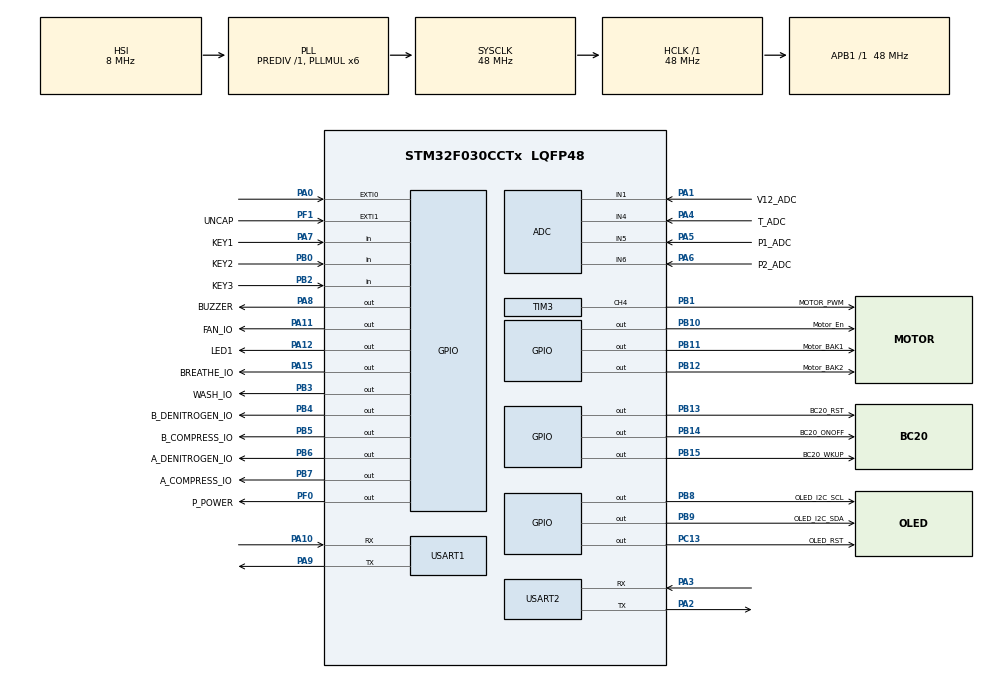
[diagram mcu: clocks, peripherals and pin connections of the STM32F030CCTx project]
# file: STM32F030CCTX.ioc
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ADC.ContinuousConvMode=ENABLE
ADC.DMAContinuousRequests=ENABLE
ADC.SamplingTime=ADC_SAMPLETIME_239CYCLES_5
Dma.ADC.0.Direction=DMA_PERIPH_TO_MEMORY
Dma.ADC.0.Instance=DMA1_Channel1
Dma.ADC.0.MemDataAlignment=DMA_MDATAALIGN_WORD
Dma.ADC.0.MemInc=DMA_MINC_ENABLE
Dma.ADC.0.Mode=DMA_CIRCULAR
Dma.ADC.0.PeriphDataAlignment=DMA_PDATAALIGN_WORD
Dma.ADC.0.PeriphInc=DMA_PINC_DISABLE
Dma.ADC.0.Priority=DMA_PRIORITY_LOW
Dma.Request0=ADC
Mcu.Family=STM32F0
Mcu.Name=STM32F030CCTx
Mcu.Package=LQFP48
NVIC.DMA1_Channel1_IRQn=true\:0\:0\:false\:false\:true\:false\:true
NVIC.RTC_IRQn=true\:0\:0\:false\:false\:true\:true\:true
NVIC.TIM3_IRQn=true\:0\:0\:false\:false\:true\:true\:true
NVIC.TIM6_IRQn=true\:0\:0\:false\:false\:true\:true\:true
NVIC.USART1_IRQn=true\:0\:0\:false\:false\:true\:true\:true
NVIC.USART2_IRQn=true\:0\:0\:false\:false\:true\:true\:true
PA0.Signal=GPXTI0
PA1.GPIO_Label=V12_ADC
PA1.Mode=IN1
PA1.Signal=ADC_IN1
PA10.Mode=Asynchronous
PA10.Signal=USART1_RX
PA11.GPIO_Label=FAN_IO
PA11.Signal=GPIO_Output
PA12.GPIO_Label=LED1
PA12.GPIO_ModeDefaultOutputPP=GPIO_MODE_OUTPUT_OD
PA12.Signal=GPIO_Output
PA13.Mode=Serial_Wire
PA13.Signal=SYS_SWDIO
PA14.Mode=Serial_Wire
PA14.Signal=SYS_SWCLK
PA15.GPIO_Label=BREATHE_IO
PA15.Signal=GPIO_Output
PA2.Mode=Asynchronous
PA2.Signal=USART2_TX
PA3.Mode=Asynchronous
PA3.Signal=USART2_RX
PA4.GPIO_Label=T_ADC
PA4.Mode=IN4
PA4.Signal=ADC_IN4
PA5.GPIO_Label=P1_ADC
PA5.Mode=IN5
PA5.Signal=ADC_IN5
PA6.GPIO_Label=P2_ADC
PA6.Mode=IN6
PA6.Signal=ADC_IN6
PA7.GPIO_Label=KEY1
PA7.Signal=GPIO_Input
PA8.GPIO_Label=BUZZER
PA8.Signal=GPIO_Output
PA9.Mode=Asynchronous
PA9.Signal=USART1_TX
PB0.GPIO_Label=KEY2
PB0.Signal=GPIO_Input
PB1.GPIO_Label=MOTOR_PWM
PB1.Signal=S_TIM3_CH4
PB10.GPIO_Label=Motor_En
PB10.Signal=GPIO_Output
PB11.GPIO_Label=Motor_BAK1
PB11.Signal=GPIO_Output
PB12.GPIO_Label=Motor_BAK2
PB12.Signal=GPIO_Output
PB13.GPIO_Label=BC20_RST
PB13.Signal=GPIO_Output
PB14.GPIO_Label=BC20_ONOFF
PB14.Signal=GPIO_Output
PB15.GPIO_Label=BC20_WKUP
PB15.Signal=GPIO_Output
PB2.GPIO_Label=KEY3
PB2.Signal=GPIO_Input
PB3.GPIO_Label=WASH_IO
PB3.Signal=GPIO_Output
PB4.GPIO_Label=B_DENITROGEN_IO
PB4.Signal=GPIO_Output
PB5.GPIO_Label=B_COMPRESS_IO
PB5.Signal=GPIO_Output
PB6.GPIO_Label=A_DENITROGEN_IO
PB6.Signal=GPIO_Output
PB7.GPIO_Label=A_COMPRESS_IO
PB7.Signal=GPIO_Output
PB8.GPIO_Label=OLED_I2C_SCL
PB8.Signal=GPIO_Output
PB9.GPIO_Label=OLED_I2C_SDA
PB9.Signal=GPIO_Output
PC13.GPIO_Label=OLED_RST
PC13.Signal=GPIO_Output
PC14OSC32_IN.GPIO_Label=OLED_PWOER_EN
PC14OSC32_IN.Signal=GPIO_Output
PC15OSC32_OUT.GPIO_Label=BAT_LOW
PC15OSC32_OUT.Signal=GPIO_Input
PF0-OSC_IN.GPIO_Label=P_POWER
PF0-OSC_IN.Signal=GPIO_Output
PF1-OSC_OUT.GPIO_Label=UNCAP
PF1-OSC_OUT.Signal=GPXTI1
ProjectManager.HeapSize=0x2000
ProjectManager.StackSize=0x2000
ProjectManager.TargetToolchain=MDK-ARM V5
RCC.AHBFreq_Value=48000000
RCC.APB1Freq_Value=48000000
RCC.APB1TimFreq_Value=48000000
RCC.HCLKFreq_Value=48000000
RCC.PLLMUL=RCC_PLL_MUL6
RCC.SYSCLKFreq_VALUE=48000000
RCC.SYSCLKSource=RCC_SYSCLKSOURCE_PLLCLK
RTC.Alarm-Alarm\ A=RTC_ALARM_A
RTC.AsynchPrediv=100
RTC.Hours=19
RTC.Minutes=44
RTC.Seconds=50
RTC.SynchPrediv=400
RTC.WeekDay=RTC_WEEKDAY_SUNDAY
SH.S_TIM3_CH4.0=TIM3_CH4,PWM Generation4 CH4
TIM3.Channel-PWM\ Generation4\ CH4=TIM_CHANNEL_4
TIM3.Period=100
TIM3.Prescaler=480
TIM3.Pulse-PWM\ Generation4\ CH4=100
TIM6.AutoReloadPreload=TIM_AUTORELOAD_PRELOAD_ENABLE
TIM6.Period=599
TIM6.Prescaler=799
USART1.DMADisableonRxErrorParam=ADVFEATURE_DMA_DISABLEONRXERROR
USART1.VirtualMode-Asynchronous=VM_ASYNC
USART2.DMADisableonRxErrorParam=ADVFEATURE_DMA_DISABLEONRXERROR
USART2.VirtualMode-Asynchronous=VM_ASYNC
VP_RTC_VS_RTC_Activate.Mode=RTC_Enabled
VP_RTC_VS_RTC_Alarm_A_Intern.Mode=Alarm A
VP_RTC_VS_RTC_Calendar.Mode=RTC_Calendar
VP_TIM3_VS_ClockSourceINT.Mode=Internal
VP_TIM6_VS_ClockSourceINT.Mode=Enable_Timer
board=custom

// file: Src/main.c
/* USER CODE BEGIN Header */
/**
  ******************************************************************************
  * @file           : main.c
  * @brief          : Main program body
  ******************************************************************************
  * @attention
  *
  * <h2><center>&copy; Copyright (c) 2019 STMicroelectronics.
  * All rights reserved.</center></h2>
  *
  * This software component is licensed by ST under BSD 3-Clause license,
  * the "License"; You may not use this file except in compliance with the
  * License. You may obtain a copy of the License at:
  *                        opensource.org/licenses/BSD-3-Clause
  *
  ******************************************************************************
  */
/* USER CODE END Header */

#include "main.h"
#include "adc.h"
#include "dma.h"
#include "rtc.h"
#include "tim.h"
#include "usart.h"
#include "gpio.h"

/* USER CODE BEGIN Includes */
#define MY_GLOBAL

#include "my_main.h"
#include "my_global.h"
#include "my_flash.h"
#include "my_uart.h"
#include "my_tim.h"
/* USER CODE END Includes */

void SystemClock_Config(void);

int main(void)
{
  /* USER CODE BEGIN 1 */
    #define MAIN_TAST_TICK_MS       10
    uint32_t tick = 0;

  /* USER CODE END 1 */

  /* MCU Configuration--------------------------------------------------------*/

  /* Reset of all peripherals, Initializes the Flash interface and the Systick. */
  HAL_Init();

  /* Configure the system clock */
  SystemClock_Config();

  /* Initialize all configured peripherals */
  MX_GPIO_Init();
  MX_DMA_Init();
  MX_ADC_Init();
  MX_RTC_Init();
  MX_TIM6_Init();
  MX_USART1_UART_Init();
  MX_USART2_UART_Init();
  MX_TIM3_Init();
  /* USER CODE BEGIN 2 */
    main_init();
  /* USER CODE END 2 */

  /* Infinite loop */
  /* USER CODE BEGIN WHILE */
  while (1)
  {
        tick = GetTimeCnt();

        W_SwitchWork(&SwitchPar);
        F_SwitchWork(&SwitchPar);
        EQ_SwitchWork(&SwitchPar);    //阀门控制

        if (tick *10 % 10 == 0) {            //10ms task
            main_keyAction();
        }
        if (tick *10 % 100 == 0) {           //100ms task

        }
        if (tick *10 % 200 == 0) {           //200ms task
            main_showAdcValue(0x03);
            main_showAdcValue(0x02);
        }
        if (tick *10 % 500 == 0) {           //500ms task
            /* 1. system Run Info */
            debug_str("system is running!\r\n");
        }
        if (tick *10 % 1000 == 0) {          //1000ms task
            //printf("hello world\n");
            //rtc_printfDataTime();
        }
        if (tick *10 % (10 * 1000) == 0) {  //10 stask
            main_saveSysParCycle(10);
        }

    /* USER CODE END WHILE */

    /* USER CODE BEGIN 3 */
        //HAL_Delay(MAIN_TAST_TICK_MS);//
  }
  /* USER CODE END 3 */
}

void SystemClock_Config(void)
{
  RCC_OscInitTypeDef RCC_OscInitStruct = {0};
  RCC_ClkInitTypeDef RCC_ClkInitStruct = {0};
  RCC_PeriphCLKInitTypeDef PeriphClkInit = {0};

  /** Initializes the CPU, AHB and APB busses clocks
  */
  RCC_OscInitStruct.OscillatorType = RCC_OSCILLATORTYPE_HSI|RCC_OSCILLATORTYPE_HSI14
                              |RCC_OSCILLATORTYPE_LSI;
  RCC_OscInitStruct.HSIState = RCC_HSI_ON;
  RCC_OscInitStruct.HSI14State = RCC_HSI14_ON;
  RCC_OscInitStruct.HSICalibrationValue = RCC_HSICALIBRATION_DEFAULT;
  RCC_OscInitStruct.HSI14CalibrationValue = 16;
  RCC_OscInitStruct.LSIState = RCC_LSI_ON;
  RCC_OscInitStruct.PLL.PLLState = RCC_PLL_ON;
  RCC_OscInitStruct.PLL.PLLSource = RCC_PLLSOURCE_HSI;
  RCC_OscInitStruct.PLL.PLLMUL = RCC_PLL_MUL6;
  RCC_OscInitStruct.PLL.PREDIV = RCC_PREDIV_DIV1;
  if (HAL_RCC_OscConfig(&RCC_OscInitStruct) != HAL_OK)
  {
    Error_Handler();
  }
  /** Initializes the CPU, AHB and APB busses clocks
  */
  RCC_ClkInitStruct.ClockType = RCC_CLOCKTYPE_HCLK|RCC_CLOCKTYPE_SYSCLK
                              |RCC_CLOCKTYPE_PCLK1;
  RCC_ClkInitStruct.SYSCLKSource = RCC_SYSCLKSOURCE_PLLCLK;
  RCC_ClkInitStruct.AHBCLKDivider = RCC_SYSCLK_DIV1;
  RCC_ClkInitStruct.APB1CLKDivider = RCC_HCLK_DIV1;

  if (HAL_RCC_ClockConfig(&RCC_ClkInitStruct, FLASH_LATENCY_1) != HAL_OK)
  {
    Error_Handler();
  }
  PeriphClkInit.PeriphClockSelection = RCC_PERIPHCLK_USART1|RCC_PERIPHCLK_RTC;
  PeriphClkInit.Usart1ClockSelection = RCC_USART1CLKSOURCE_PCLK1;
  PeriphClkInit.RTCClockSelection = RCC_RTCCLKSOURCE_LSI;
  if (HAL_RCCEx_PeriphCLKConfig(&PeriphClkInit) != HAL_OK)
  {
    Error_Handler();
  }
}

void Error_Handler(void)
{
}

/************************ (C) COPYRIGHT STMicroelectronics *****END OF FILE****/
